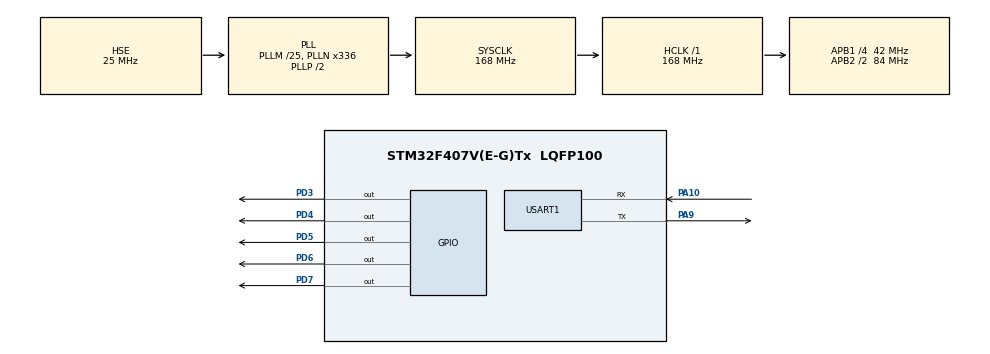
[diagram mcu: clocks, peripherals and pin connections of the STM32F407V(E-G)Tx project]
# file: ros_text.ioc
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Mcu.Family=STM32F4
Mcu.Name=STM32F407V(E-G)Tx
Mcu.Package=LQFP100
NVIC.PriorityGroup=NVIC_PRIORITYGROUP_4
NVIC.USART1_IRQn=true\:0\:0\:false\:false\:true\:true\:true\:true
PA10.Mode=Asynchronous
PA10.Signal=USART1_RX
PA13.Mode=Serial_Wire
PA13.Signal=SYS_JTMS-SWDIO
PA14.Mode=Serial_Wire
PA14.Signal=SYS_JTCK-SWCLK
PA9.Mode=Asynchronous
PA9.Signal=USART1_TX
PD3.Signal=GPIO_Output
PD4.Signal=GPIO_Output
PD5.Signal=GPIO_Output
PD6.Signal=GPIO_Output
PD7.Signal=GPIO_Output
PH0-OSC_IN.Mode=HSE-External-Oscillator
PH0-OSC_IN.Signal=RCC_OSC_IN
PH1-OSC_OUT.Mode=HSE-External-Oscillator
PH1-OSC_OUT.Signal=RCC_OSC_OUT
ProjectManager.HeapSize=0x200
ProjectManager.StackSize=0x400
ProjectManager.TargetToolchain=MDK-ARM V5.32
RCC.48MHZClocksFreq_Value=84000000
RCC.AHBFreq_Value=168000000
RCC.APB1CLKDivider=RCC_HCLK_DIV4
RCC.APB1Freq_Value=42000000
RCC.APB1TimFreq_Value=84000000
RCC.APB2CLKDivider=RCC_HCLK_DIV2
RCC.APB2Freq_Value=84000000
RCC.APB2TimFreq_Value=168000000
RCC.CortexFreq_Value=168000000
RCC.HCLKFreq_Value=168000000
RCC.HSE_VALUE=25000000
RCC.HSI_VALUE=16000000
RCC.LSE_VALUE=32768
RCC.PLLM=25
RCC.PLLN=336
RCC.PLLSourceVirtual=RCC_PLLSOURCE_HSE
RCC.SYSCLKFreq_VALUE=168000000
RCC.SYSCLKSource=RCC_SYSCLKSOURCE_PLLCLK
RCC.VCOOutputFreq_Value=336000000
USART1.VirtualMode=VM_ASYNC
board=custom

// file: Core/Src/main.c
/* USER CODE BEGIN Header */
/**
  ******************************************************************************
  * @file           : main.c
  * @brief          : Main program body
  ******************************************************************************
  * @attention
  *
  * Copyright (c) 2023 STMicroelectronics.
  * All rights reserved.
  *
  * This software is licensed under terms that can be found in the LICENSE file
  * in the root directory of this software component.
  * If no LICENSE file comes with this software, it is provided AS-IS.
  *
  ******************************************************************************
  */
/* USER CODE END Header */
#include "main.h"
#include "usart.h"
#include "gpio.h"

/* USER CODE BEGIN Includes */
#include <stdio.h>
/* USER CODE END Includes */

/* USER CODE BEGIN PTD */
#define sense8 GPIO_PIN_6
#define sense7 GPIO_PIN_7
#define sense6 GPIO_PIN_4
#define sense5 GPIO_PIN_5

#define sense8_on HAL_GPIO_WritePin(GPIOD, sense8, GPIO_PIN_SET)
#define sense8_off HAL_GPIO_WritePin(GPIOD, sense8, GPIO_PIN_RESET)
#define sense7_on HAL_GPIO_WritePin(GPIOD, sense7, GPIO_PIN_SET)
#define sense7_off HAL_GPIO_WritePin(GPIOD, sense7, GPIO_PIN_RESET)
#define sense6_on HAL_GPIO_WritePin(GPIOD, sense6, GPIO_PIN_SET)
#define sense6_off HAL_GPIO_WritePin(GPIOD, sense6, GPIO_PIN_RESET)
#define sense5_on HAL_GPIO_WritePin(GPIOD, sense5, GPIO_PIN_SET)
#define sense5_off HAL_GPIO_WritePin(GPIOD, sense5, GPIO_PIN_RESET)

/* USER CODE END PTD */

void SystemClock_Config(void);

/* USER CODE BEGIN 0 */
int time=0;
uint8_t send_data=12;
uint8_t *arr;
uint8_t send_data2[7] = "working";
uint8_t data;
int stute;
/* USER CODE END 0 */

int main(void)
{
  /* USER CODE BEGIN 1 */
	sense8_off;
	sense7_off;
	sense6_off;
	sense5_off;

  /* USER CODE END 1 */

  /* MCU Configuration--------------------------------------------------------*/

  /* Reset of all peripherals, Initializes the Flash interface and the Systick. */
  HAL_Init();

  /* Configure the system clock */
  SystemClock_Config();

  /* Initialize all configured peripherals */
  MX_GPIO_Init();
  MX_USART1_UART_Init();
  /* USER CODE BEGIN 2 */
	int motor_start(void);
	void motor_start2(void);

  /* USER CODE END 2 */

  /* Infinite loop */
  while (1)
  {

    /* USER CODE BEGIN 3 */
//	  for(int i=0; i<8; i++)
//	  {
//	  }
//	  printf("%s\n",send_data2);
//	  stute = HAL_UART_Transmit(&huart1,(uint8_t *)&send_data, sizeof(send_data), 0xffff);
//	  printf("working\r\n");
	  HAL_Delay(1000);
//	  printf("1234");
  }
  /* USER CODE END 3 */
}

void SystemClock_Config(void)
{
  RCC_OscInitTypeDef RCC_OscInitStruct = {0};
  RCC_ClkInitTypeDef RCC_ClkInitStruct = {0};

  /** Configure the main internal regulator output voltage
  */
  __HAL_RCC_PWR_CLK_ENABLE();
  __HAL_PWR_VOLTAGESCALING_CONFIG(PWR_REGULATOR_VOLTAGE_SCALE1);

  /** Initializes the RCC Oscillators according to the specified parameters
  * in the RCC_OscInitTypeDef structure.
  */
  RCC_OscInitStruct.OscillatorType = RCC_OSCILLATORTYPE_HSE;
  RCC_OscInitStruct.HSEState = RCC_HSE_ON;
  RCC_OscInitStruct.PLL.PLLState = RCC_PLL_ON;
  RCC_OscInitStruct.PLL.PLLSource = RCC_PLLSOURCE_HSE;
  RCC_OscInitStruct.PLL.PLLM = 25;
  RCC_OscInitStruct.PLL.PLLN = 336;
  RCC_OscInitStruct.PLL.PLLP = RCC_PLLP_DIV2;
  RCC_OscInitStruct.PLL.PLLQ = 4;
  if (HAL_RCC_OscConfig(&RCC_OscInitStruct) != HAL_OK)
  {
    Error_Handler();
  }

  /** Initializes the CPU, AHB and APB buses clocks
  */
  RCC_ClkInitStruct.ClockType = RCC_CLOCKTYPE_HCLK|RCC_CLOCKTYPE_SYSCLK
                              |RCC_CLOCKTYPE_PCLK1|RCC_CLOCKTYPE_PCLK2;
  RCC_ClkInitStruct.SYSCLKSource = RCC_SYSCLKSOURCE_PLLCLK;
  RCC_ClkInitStruct.AHBCLKDivider = RCC_SYSCLK_DIV1;
  RCC_ClkInitStruct.APB1CLKDivider = RCC_HCLK_DIV4;
  RCC_ClkInitStruct.APB2CLKDivider = RCC_HCLK_DIV2;

  if (HAL_RCC_ClockConfig(&RCC_ClkInitStruct, FLASH_LATENCY_5) != HAL_OK)
  {
    Error_Handler();
  }
}

/* USER CODE BEGIN 4 */

int motor_start(void)
{
	sense8_on;
	HAL_Delay(time);
	sense7_on;
	HAL_Delay(time);
	sense8_off;
	sense6_on;
	HAL_Delay(time);
	sense7_off;
	sense5_on;
	HAL_Delay(time);
	sense6_off;
	sense8_on;
	HAL_Delay(time);
	sense5_off;
	return 0;
}
void motor_start2(void)
{
	sense8_on;
	HAL_Delay(time);
	sense8_off;
	sense7_on;
	HAL_Delay(time);
	sense7_off;
	sense6_on;
	HAL_Delay(time);
	sense6_off;
	sense5_on;
	HAL_Delay(time);
	sense5_off;
}
void HAL_UART_TxCpltCallback(UART_HandleTypeDef *huart)
{
	if(huart->Instance == USART1)
	{
		printf("send down");
	}

}
void HAL_UART_RxCpltCallback(UART_HandleTypeDef *huart)
{
	if(huart->Instance == USART1)
	{
		if(HAL_UART_Receive_IT(&huart1, &data, 8)==HAL_OK)
		{
			HAL_UART_Transmit_IT(&huart1, &data, sizeof(data));
		}

	}
}

/* USER CODE END 4 */

void Error_Handler(void)
{
  __disable_irq();
  while (1)
  {
  }
}
